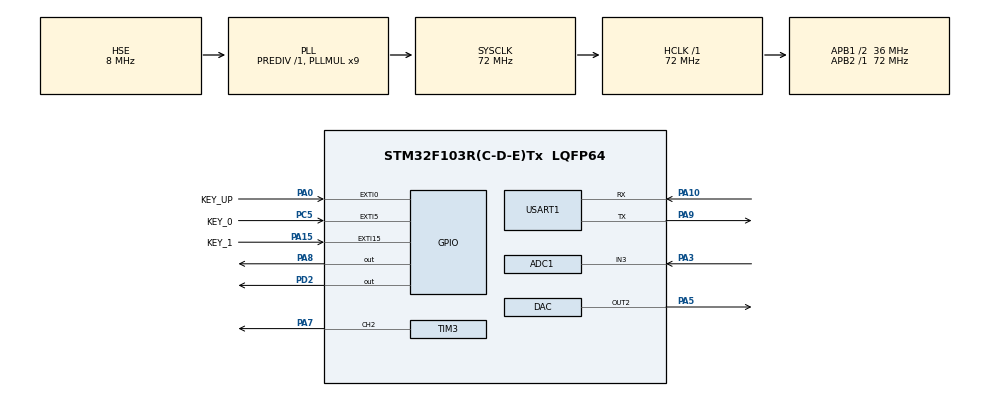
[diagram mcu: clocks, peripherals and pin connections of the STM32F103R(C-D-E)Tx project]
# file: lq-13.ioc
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ADC1.Channel-3\#ChannelRegularConversion=ADC_CHANNEL_3
ADC1.ContinuousConvMode=ENABLE
ADC1.NbrOfConversionFlag=1
ADC1.Rank-3\#ChannelRegularConversion=1
ADC1.SamplingTime-3\#ChannelRegularConversion=ADC_SAMPLETIME_1CYCLE_5
ADC1.master=1
Dma.ADC1.0.Direction=DMA_PERIPH_TO_MEMORY
Dma.ADC1.0.Instance=DMA1_Channel1
Dma.ADC1.0.MemDataAlignment=DMA_MDATAALIGN_HALFWORD
Dma.ADC1.0.MemInc=DMA_MINC_ENABLE
Dma.ADC1.0.Mode=DMA_NORMAL
Dma.ADC1.0.PeriphDataAlignment=DMA_PDATAALIGN_HALFWORD
Dma.ADC1.0.PeriphInc=DMA_PINC_DISABLE
Dma.ADC1.0.Priority=DMA_PRIORITY_LOW
Dma.Request0=ADC1
Mcu.Family=STM32F1
Mcu.Name=STM32F103R(C-D-E)Tx
Mcu.Package=LQFP64
NVIC.ADC1_2_IRQn=true\:1\:0\:true\:false\:true\:true\:true\:true
NVIC.DMA1_Channel1_IRQn=true\:0\:0\:false\:false\:true\:false\:true\:true
NVIC.EXTI0_IRQn=true\:1\:0\:true\:false\:true\:true\:true\:true
NVIC.EXTI15_10_IRQn=true\:1\:0\:true\:false\:true\:true\:true\:true
NVIC.EXTI9_5_IRQn=true\:1\:0\:true\:false\:true\:true\:true\:true
NVIC.PriorityGroup=NVIC_PRIORITYGROUP_4
NVIC.USART1_IRQn=true\:1\:0\:true\:false\:true\:true\:true\:true
PA0-WKUP.GPIO_Label=KEY_UP
PA0-WKUP.GPIO_PuPd=GPIO_PULLDOWN
PA0-WKUP.Signal=GPXTI0
PA10.Mode=Asynchronous
PA10.Signal=USART1_RX
PA13.Mode=Serial_Wire
PA13.Signal=SYS_JTMS-SWDIO
PA14.Mode=Serial_Wire
PA14.Signal=SYS_JTCK-SWCLK
PA15.GPIO_Label=KEY_1
PA15.GPIO_ModeDefaultEXTI=GPIO_MODE_IT_FALLING
PA15.GPIO_PuPd=GPIO_PULLUP
PA15.Signal=GPXTI15
PA3.Signal=ADCx_IN3
PA5.Signal=COMP_DAC2_group
PA7.Signal=S_TIM3_CH2
PA8.Signal=GPIO_Output
PA9.Mode=Asynchronous
PA9.Signal=USART1_TX
PC5.GPIO_Label=KEY_0
PC5.GPIO_ModeDefaultEXTI=GPIO_MODE_IT_FALLING
PC5.GPIO_PuPd=GPIO_PULLUP
PC5.Signal=GPXTI5
PD0-OSC_IN.Mode=HSE-External-Oscillator
PD0-OSC_IN.Signal=RCC_OSC_IN
PD1-OSC_OUT.Mode=HSE-External-Oscillator
PD1-OSC_OUT.Signal=RCC_OSC_OUT
PD2.Signal=GPIO_Output
ProjectManager.HeapSize=0x200
ProjectManager.StackSize=0x400
ProjectManager.TargetToolchain=MDK-ARM V5
RCC.ADCPresc=RCC_ADCPCLK2_DIV6
RCC.AHBFreq_Value=72000000
RCC.APB1CLKDivider=RCC_HCLK_DIV2
RCC.APB1Freq_Value=36000000
RCC.APB1TimFreq_Value=72000000
RCC.APB2Freq_Value=72000000
RCC.APB2TimFreq_Value=72000000
RCC.HCLKFreq_Value=72000000
RCC.PLLMUL=RCC_PLL_MUL9
RCC.PLLSourceVirtual=RCC_PLLSOURCE_HSE
RCC.SYSCLKFreq_VALUE=72000000
RCC.SYSCLKSource=RCC_SYSCLKSOURCE_PLLCLK
RCC.USBFreq_Value=72000000
SH.ADCx_IN3.0=ADC1_IN3,IN3
SH.COMP_DAC2_group.0=DAC_OUT2,DAC_OUT2
SH.S_TIM3_CH2.0=TIM3_CH2,PWM Generation2 CH2
TIM3.AutoReloadPreload=TIM_AUTORELOAD_PRELOAD_ENABLE
TIM3.Channel-PWM\ Generation2\ CH2=TIM_CHANNEL_2
TIM3.Period=999
TIM3.Prescaler=71
USART1.VirtualMode=VM_ASYNC
VP_TIM3_VS_ClockSourceINT.Mode=Internal
board=custom

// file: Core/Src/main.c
/* USER CODE BEGIN Header */
/**
  ******************************************************************************
  * @file           : main.c
  * @brief          : Main program body
  ******************************************************************************
  * @attention
  *
  * Copyright (c) 2023 STMicroelectronics.
  * All rights reserved.
  *
  * This software is licensed under terms that can be found in the LICENSE file
  * in the root directory of this software component.
  * If no LICENSE file comes with this software, it is provided AS-IS.
  *
  ******************************************************************************
  */
/* USER CODE END Header */
#include "main.h"
#include "adc.h"
#include "dac.h"
#include "dma.h"
#include "tim.h"
#include "usart.h"
#include "gpio.h"

/* USER CODE BEGIN Includes */
#include <stdio.h>
#include "LCD/lcd.h"
#include "LCD/delay.h"
/* USER CODE END Includes */

/* USER CODE BEGIN PM */

#define transmit(x) HAL_UART_Transmit(&huart1, x, sizeof(x), 0xffff)

/* USER CODE END PM */

/* USER CODE BEGIN PV */
uint8_t 	f 				= 1; // kHz
uint8_t		d					= 0;
uint8_t 	lck 			= 0;
volatile uint32_t v	= 0;
uint8_t		recv[10]	= {0};
char tosConvBuf[10] = {0};
/* USER CODE END PV */

void SystemClock_Config(void);
/* USER CODE BEGIN PFP */
void HAL_GPIO_EXTI_Callback(uint16_t GPIO_Pin);
void HAL_UART_RxCpltCallback(UART_HandleTypeDef *huart);
void fDspl(void);
void vDspl(float voltage);
void dDspl(void);
void writeLog(char txt[]);
char* toString(long long num);
/* USER CODE END PFP */

int main(void)
{
  /* USER CODE BEGIN 1 */

	/*
	k up - PA0
	k0	 - PC5
	k1	 - PA15
	l1	 - PA8
	l2	 - PD2
	pwm	 - TIM3CH2, f = 1MHz / ARR, d = CCR2 / ARR
	*/
	int i = 0;
	//transmit("Starting...");
  /* USER CODE END 1 */

  /* MCU Configuration--------------------------------------------------------*/

  /* Reset of all peripherals, Initializes the Flash interface and the Systick. */
  HAL_Init();

  /* Configure the system clock */
  SystemClock_Config();

  /* Initialize all configured peripherals */
  MX_GPIO_Init();
  MX_DMA_Init();
  MX_ADC1_Init();
  MX_DAC_Init();
  MX_TIM3_Init();
  MX_USART1_UART_Init();
  /* USER CODE BEGIN 2 */

	HAL_GPIO_WritePin(GPIOA, GPIO_PIN_8, GPIO_PIN_SET);
	HAL_GPIO_WritePin(GPIOD, GPIO_PIN_2, GPIO_PIN_SET);

	HAL_UART_Init(&huart1);

	HAL_TIM_Base_Start(&htim3);

	HAL_ADCEx_Calibration_Start(&hadc1);
	HAL_ADC_Start_DMA(&hadc1, &v, 1);

	HAL_DAC_Start(&hdac, DAC_CHANNEL_2);
	HAL_DAC_SetValue(&hdac, DAC_CHANNEL_2, DAC_ALIGN_12B_R, 2048);

	delay_init(72);
	LCD_Init();
	LCD_DisplayOn();
	BACK_COLOR = BLACK;
	POINT_COLOR = WHITE;
	LCD_Clear(BLACK);
	LCD_ShowString(100, 100, 120, 20, 16, (uint8_t *)"DATA");
	LCD_ShowString(10 , 120, 50 , 20, 16, (uint8_t *)"Volt:");
	LCD_ShowString(10 , 140, 50 , 20, 16, (uint8_t *)"D:");
	LCD_ShowString(10 , 160, 50 , 20, 16, (uint8_t *)"F:");

	HAL_UART_Receive_IT(&huart1, recv, 10);

	fDspl();

	//transmit("Init complete");
  /* USER CODE END 2 */

  /* Infinite loop */
  /* USER CODE BEGIN WHILE */
  while (1)
  {
		//writeLog(toString(v));
		float voltage = (float)v / 4096 * 3.3;
		d = voltage < 1 ? 40 : voltage > 2 ? 80 : voltage * 40;
		__HAL_TIM_SetCompare(&htim3, TIM_CHANNEL_2, d * 10 * f);
		HAL_ADC_Start_DMA(&hadc1, &v, 1);
		vDspl(voltage);
		dDspl();
		if(voltage < 1) HAL_GPIO_WritePin(GPIOD,GPIO_PIN_2, GPIO_PIN_SET);
		if(i++ == 10) {
			if(voltage > 1) HAL_GPIO_TogglePin(GPIOD, GPIO_PIN_2);
			i = 0;
		}
    /* USER CODE END WHILE */

    /* USER CODE BEGIN 3 */
		HAL_Delay(10);
  }
  /* USER CODE END 3 */
}

void SystemClock_Config(void)
{
  RCC_OscInitTypeDef RCC_OscInitStruct = {0};
  RCC_ClkInitTypeDef RCC_ClkInitStruct = {0};
  RCC_PeriphCLKInitTypeDef PeriphClkInit = {0};

  /** Initializes the RCC Oscillators according to the specified parameters
  * in the RCC_OscInitTypeDef structure.
  */
  RCC_OscInitStruct.OscillatorType = RCC_OSCILLATORTYPE_HSE;
  RCC_OscInitStruct.HSEState = RCC_HSE_ON;
  RCC_OscInitStruct.HSEPredivValue = RCC_HSE_PREDIV_DIV1;
  RCC_OscInitStruct.HSIState = RCC_HSI_ON;
  RCC_OscInitStruct.PLL.PLLState = RCC_PLL_ON;
  RCC_OscInitStruct.PLL.PLLSource = RCC_PLLSOURCE_HSE;
  RCC_OscInitStruct.PLL.PLLMUL = RCC_PLL_MUL9;
  if (HAL_RCC_OscConfig(&RCC_OscInitStruct) != HAL_OK)
  {
    Error_Handler();
  }

  /** Initializes the CPU, AHB and APB buses clocks
  */
  RCC_ClkInitStruct.ClockType = RCC_CLOCKTYPE_HCLK|RCC_CLOCKTYPE_SYSCLK
                              |RCC_CLOCKTYPE_PCLK1|RCC_CLOCKTYPE_PCLK2;
  RCC_ClkInitStruct.SYSCLKSource = RCC_SYSCLKSOURCE_PLLCLK;
  RCC_ClkInitStruct.AHBCLKDivider = RCC_SYSCLK_DIV1;
  RCC_ClkInitStruct.APB1CLKDivider = RCC_HCLK_DIV2;
  RCC_ClkInitStruct.APB2CLKDivider = RCC_HCLK_DIV1;

  if (HAL_RCC_ClockConfig(&RCC_ClkInitStruct, FLASH_LATENCY_2) != HAL_OK)
  {
    Error_Handler();
  }
  PeriphClkInit.PeriphClockSelection = RCC_PERIPHCLK_ADC;
  PeriphClkInit.AdcClockSelection = RCC_ADCPCLK2_DIV6;
  if (HAL_RCCEx_PeriphCLKConfig(&PeriphClkInit) != HAL_OK)
  {
    Error_Handler();
  }
}

/* USER CODE BEGIN 4 */
void HAL_UART_RxCpltCallback(UART_HandleTypeDef *huart) {
	writeLog("UART rx");
	float volt = 0;
	int decimal = 0;
	for(int i = 0;i < 10; i++) {
		if(recv[i] == 0 || recv[i] == '\n') break;
		if(recv[i] == '.') {
			decimal = 10;
			continue;
		}
		if(recv[i] < '0' || recv[i] > '9') {
			transmit("Format error\n");
			return;
		}
		if(!decimal) {
			volt *= 10;
			volt += recv[i] - '0';
			continue;
		}
		volt += (float)(recv[i] - '0') / decimal;
		decimal *= 10;
	}

	HAL_DAC_SetValue(&hdac, DAC_CHANNEL_2, DAC_ALIGN_12B_R, volt / 3.3 * 4096);
	HAL_UART_Receive_IT(&huart1, recv, 10);
}

void HAL_GPIO_EXTI_Callback(uint16_t GPIO_Pin) {
	switch(GPIO_Pin) {
		case GPIO_PIN_0: //  lock
			HAL_Delay(100);
			if(HAL_GPIO_ReadPin(GPIOA, GPIO_PIN_0) == GPIO_PIN_RESET) return;
			lck = lck ? 0 : 1;
			//transmit("Lock status:");
			//transmit(lck ? "locked" : "unlocked");
			HAL_GPIO_TogglePin(GPIOA, GPIO_PIN_8);
			break;
		case GPIO_PIN_5: //  +
			HAL_Delay(100);
			if(HAL_GPIO_ReadPin(GPIOC, GPIO_PIN_5) == GPIO_PIN_SET) return;
			//writeLog("f+");
			if(lck || f == 10) return;
			++f;
			__HAL_TIM_SET_AUTORELOAD(&htim3, 1000 / f);
			//transmit("f+");
			fDspl();
			break;
		case GPIO_PIN_15: // -
			HAL_Delay(20);
			if(HAL_GPIO_ReadPin(GPIOA, GPIO_PIN_15) == GPIO_PIN_SET) return;
			//writeLog("f-");
			if(lck || f == 1) return;
			--f;
			__HAL_TIM_SET_AUTORELOAD(&htim3, 1000 / f);

			fDspl();
			break;
	}
}

inline char* toString(long long num) {
  if(sprintf(tosConvBuf, "%lld   ", num) == -1) {
    //ERR
    writeLog("Exception occurred while converting LL value to string");
    return NULL;
  }
  return tosConvBuf;
}

void fDspl() {
	char buf[10] = {0};
	sprintf(buf, "%d000Hz   ", f);
	LCD_ShowString(65, 160, 100, 20, 16, (uint8_t *)buf);
}
void vDspl(float voltage) {
	char buf[10] = {0};
	sprintf(buf, "%4.2fV   ", voltage);
	LCD_ShowString(65, 120, 100, 20, 16, (uint8_t *)buf);
}
void dDspl() {
	char buf[10] = {0};
	sprintf(buf, "%d%%   ", d);
	LCD_ShowString(65, 140, 100, 20, 16, (uint8_t *)buf);
}

void writeLog(char txt[]) {
	LCD_ShowString(200, 10, 200, 16, 16, (uint8_t *)txt);
}
/* USER CODE END 4 */

void Error_Handler(void)
{
  __disable_irq();
  while (1)
  {
  }
}
